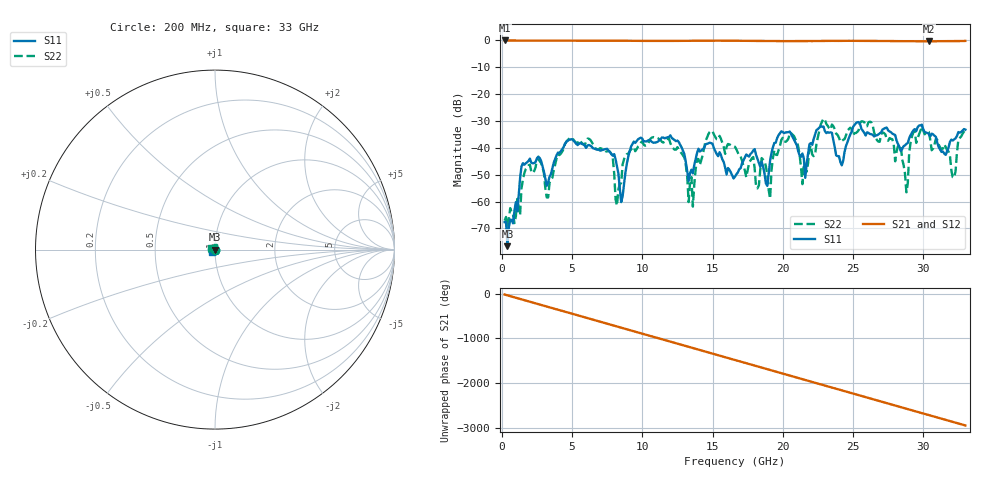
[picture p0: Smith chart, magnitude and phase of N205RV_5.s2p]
# GHZ S RI R 50
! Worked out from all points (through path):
!   329 points, 200 MHz to 33 GHz, reference 50 ohm
!   highest |S21| = -0.02 dB at 200 MHz (marker M1); lowest = -0.4 dB at 30.4 GHz (marker M2)
!   group delay of S21, straight-line fit = 248 ps
!   lowest |S11| = -76.6 dB at 400 MHz (marker M3), VSWR 1.00, Z = 50 + j0.00469 ohm
!   |S11| at or under -10 dB: start of sweep to end of sweep
!   |S22| runs from -69.0 to -29.2 dB; largest |S21 - S12| = 0.0019
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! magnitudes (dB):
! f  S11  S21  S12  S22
! 200 MHz  -67.7  0.0  0.0  -67.1
! 400 MHz  -76.6  0.0  0.0  -69.0
! 1.5 GHz  -45.7  -0.1  -0.1  -51.9
! 5.7 GHz  -38.6  -0.1  -0.1  -38.2
! 7.8 GHz  -42.3  -0.1  -0.1  -42.3
! 8.2 GHz  -46.9  -0.1  -0.1  -61.5
! 8.5 GHz  -60.2  -0.1  -0.1  -53.1
! 9.4 GHz  -37.7  -0.2  -0.2  -39.7
! 11.2 GHz  -37.2  -0.2  -0.2  -36.8
! 13.6 GHz  -49.5  -0.1  -0.1  -61.9
! 14.8 GHz  -38.1  -0.1  -0.1  -34.1
! 16.6 GHz  -50.8  -0.1  -0.1  -39.6
! 19.1 GHz  -44.8  -0.2  -0.2  -58.9
! 20 GHz  -34.1  -0.3  -0.3  -36.3
! 21.6 GHz  -51.2  -0.3  -0.3  -47.4
! 22.1 GHz  -38.9  -0.3  -0.2  -42.5
! 27.6 GHz  -33.9  -0.2  -0.2  -36.4
! 28.8 GHz  -38.5  -0.3  -0.3  -56.6
! 29.3 GHz  -33.5  -0.3  -0.3  -34.2
! 30.4 GHz  -34.8  -0.4  -0.4  -34.1
! 32.2 GHz  -36.9  -0.3  -0.3  -51.1
! 33 GHz  -33.2  -0.2  -0.2  -33.2
